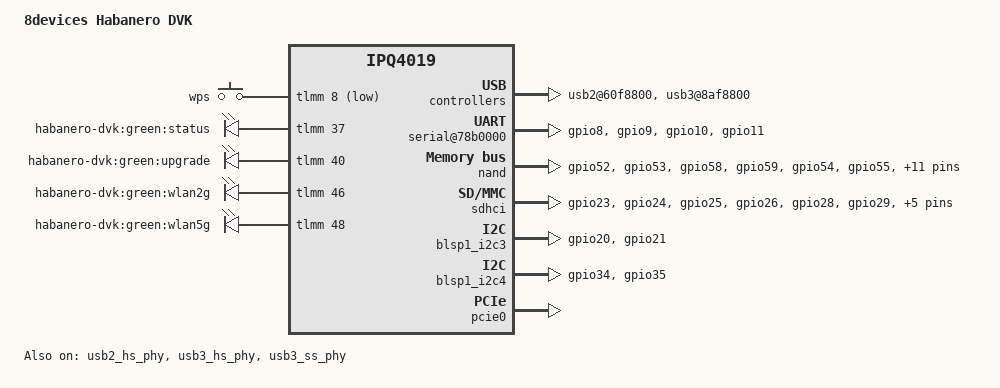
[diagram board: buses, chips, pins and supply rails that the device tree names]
// SPDX-License-Identifier: GPL-2.0-or-later OR MIT

#include "qcom-ipq4019-habanero.dtsi"

/ {
	model = "8devices Habanero DVK";
	compatible = "8dev,habanero-dvk", "8dev,habanero-dvk-c1",
		"8dev,habanero-dvk-c2", "8dev,habanero", "qcom,ipq4019";

	aliases {
		led-boot = &led_status;
		led-failsafe = &led_status;
		led-running = &led_status;
		led-upgrade = &led_upgrade;
	};

	soc {
		usb2@60f8800 {
			status = "okay";
		};

		usb3@8af8800 {
			status = "okay";
		};

		serial@78b0000 {
			pinctrl-0 = <&serial_1_pins>;
			pinctrl-names = "default";
			status = "okay";
		};

		nand: qpic-nand@79b0000 {
			pinctrl-0 = <&nand_pins>;
			pinctrl-names = "default";
			status = "okay";
		};
	};

	gpio-keys {
		compatible = "gpio-keys";

		wps {
			label = "wps";
			gpios = <&tlmm 8 GPIO_ACTIVE_LOW>;
			linux,code = <KEY_WPS_BUTTON>;
		};
	};

	gpio-leds {
		compatible = "gpio-leds";

		led_status: status {
			label = "habanero-dvk:green:status";
			gpios = <&tlmm 37 GPIO_ACTIVE_HIGH>;
			panic-indicator;
		};
		led_upgrade: upgrade {
			label = "habanero-dvk:green:upgrade";
			gpios = <&tlmm 40 GPIO_ACTIVE_HIGH>;
		};
		// Disable to use GPIO46 as SPI1_MOSI
		wlan2g {
			label = "habanero-dvk:green:wlan2g";
			gpios = <&tlmm 46 GPIO_ACTIVE_HIGH>;
			linux,default-trigger = "phy0tpt";
		};
		wlan5g {
			label = "habanero-dvk:green:wlan5g";
			gpios = <&tlmm 48 GPIO_ACTIVE_HIGH>;
			linux,default-trigger = "phy1tpt";
		};
	};
};

&sdhci {
	pinctrl-0 = <&sd_pins>;
	pinctrl-names = "default";
	cd-gpios = <&tlmm 22 0x1>;
	vqmmc-supply = <&vqmmc>;
	status = "okay";
};

// Disable wlan2g LED to use SPI
/*
&blsp1_spi2 {
	pinctrl-0 = <&spi_1_pins>;
	pinctrl-names = "default";
	status = "okay";
	cs-gpios = <&tlmm 45 GPIO_ACTIVE_HIGH>, <&tlmm 49 GPIO_ACTIVE_HIGH>;

	spidev@0 {
		compatible = "spidev";
		spi-max-frequency = <24000000>;
		reg = <0>;
	};
	spidev@1 {
		compatible = "spidev";
		spi-max-frequency = <24000000>;
		reg = <1>;
	};
};
*/

&blsp1_i2c3 {
	pinctrl-0 = <&i2c_0_pins>;
	pinctrl-names = "default";
	status = "ok";
};

&blsp1_i2c4 {
	pinctrl-0 = <&i2c_1_pins>;
	pinctrl-names = "default";
	status = "ok";
};

&pcie0 {
	perst-gpio = <&tlmm 38 GPIO_ACTIVE_LOW>;
	wake-gpio = <&tlmm 50 GPIO_ACTIVE_LOW>;
	status = "okay";

	/* Free slot for use */
	bridge@0,0 {
		reg = <0x00000000 0 0 0 0>;
		#address-cells = <3>;
		#size-cells = <2>;
		ranges;
	};
};

&tlmm {
	serial_1_pins: serial1_pinmux {
		pinmux {
			pins = "gpio8", "gpio9", "gpio10", "gpio11";
			function = "blsp_uart1";
			bias-disable;
		};
	};

	spi_1_pins: spi_1_pinmux {
		pinmux {
			function = "blsp_spi1";
			pins = "gpio44", "gpio46", "gpio47";
			drive-strength = <12>;
			bias-disable;
		};
		pinmux_cs {
			function = "gpio";
			pins = "gpio45", "gpio49";
			drive-strength = <2>;
			bias-disable;
			output-high;
		};
	};

	i2c_0_pins: i2c_0_pinmux {
		pinmux {
			function = "blsp_i2c0";
			pins = "gpio20", "gpio21";
		};
		pinconf {
			pins = "gpio20", "gpio21";
			drive-strength = <16>;
			bias-disable;
		};
	};

	i2c_1_pins: i2c_1_pinmux {
		pinmux {
			function = "blsp_i2c1";
			pins = "gpio34", "gpio35";
		};
		pinconf {
			pins = "gpio34", "gpio35";
			drive-strength = <16>;
			bias-disable;
		};
	};

	nand_pins: nand_pins {
		pullups {
			pins =  "gpio52", "gpio53", "gpio58", "gpio59";
			function = "qpic";
			bias-pull-up;
		};

		pulldowns {
			pins = "gpio54", "gpio55", "gpio56", "gpio57",
				"gpio60", "gpio62", "gpio63", "gpio64",
				"gpio65", "gpio66", "gpio67", "gpio68",
				"gpio69";
			function = "qpic";
			bias-pull-down;
		};
	};

	sd_pins: sd_pins {
		pinmux {
			function = "sdio";
			pins = "gpio23", "gpio24", "gpio25", "gpio26",
				"gpio28", "gpio29", "gpio30", "gpio31";
			drive-strength = <10>;
		};
		pinmux_sd_clk {
			function = "sdio";
			pins = "gpio27";
			drive-strength = <16>;
		};
		pinmux_sd7 {
			function = "sdio";
			pins = "gpio32";
			drive-strength = <10>;
			bias-disable;
		};
	};
};

&usb2_hs_phy {
	status = "okay";
};

&usb3_hs_phy {
	status = "okay";
};

&usb3_ss_phy {
	status = "okay";
};
